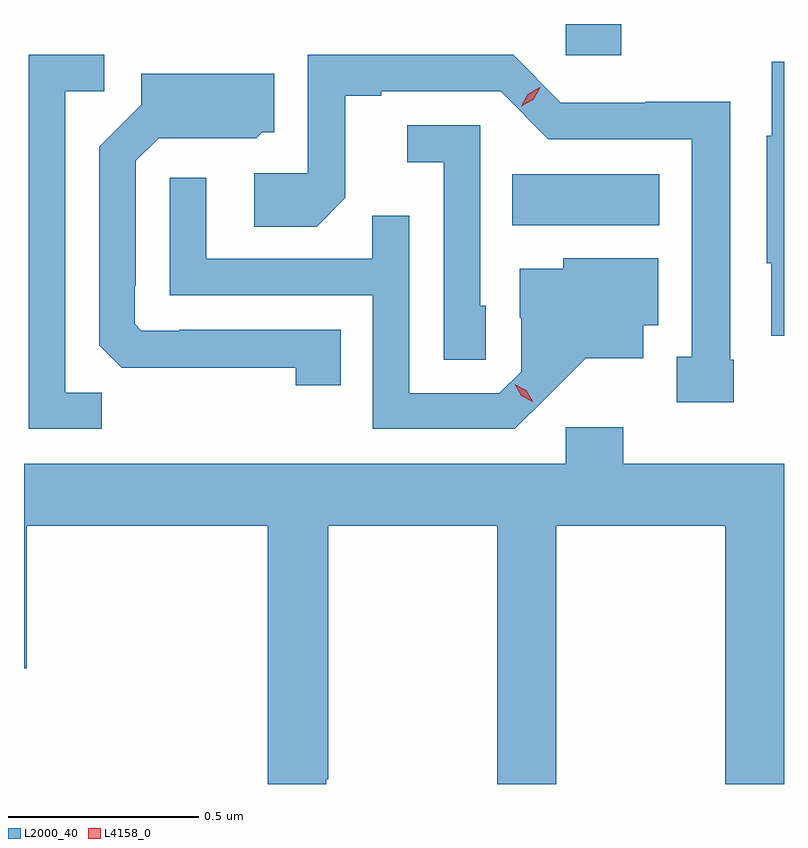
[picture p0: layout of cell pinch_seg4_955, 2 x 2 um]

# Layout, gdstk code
import gdstk
lib = gdstk.Library(unit=1e-6, precision=1e-09)
def R(c, l, rs):  # rectangles x0, y0, x1, y1
    for r in rs: c.add(gdstk.rectangle(r[:2], r[2:], *l))
def P(c, l, *ps):  # polygons
    for p in ps: c.add(gdstk.Polygon(p, *l))
L2000_40 = (2000, 40)
L4158_0 = (4158, 0)

pinch_seg4_955 = lib.new_cell('pinch_seg4_955')
R(pinch_seg4_955, L2000_40, [(657.958,797.612,658.345,797.746), (658.098,798.059,658.245,798.141)])
P(pinch_seg4_955, L2000_40, [(656.877,797.171),(656.781,797.171),(656.781,797.964),(656.884,797.964),(656.884,798.06),(656.685,798.06),(656.685,797.076),(656.877,797.076)],
  [(658.541,797.257),(658.531,797.257),(658.531,797.936),(658.308,797.936),(658.308,797.934),(658.086,797.934),(657.96,798.06),(657.42,798.06),(657.42,797.748),(657.279,797.748),(657.279,797.608),(657.443,797.608),(657.519,797.684),(657.519,797.952),(657.613,797.952),(657.613,797.964),(657.927,797.964),(658.053,797.838),(658.43,797.838),(658.43,797.265),(658.391,797.265),(658.391,797.145),(658.541,797.145)],
  [(658.673,798.042),(658.641,798.042),(658.641,797.847),(658.628,797.847),(658.628,797.511),(658.64,797.511),(658.64,797.321),(658.673,797.321)],
  [(657.506,797.337),(657.082,797.337),(657.082,797.334),(656.982,797.334),(656.964,797.352),(656.964,797.452),(656.967,797.452),(656.967,797.781),(657.027,797.841),(657.15,797.841),(657.15,797.84),(657.284,797.84),(657.3,797.856),(657.331,797.856),(657.331,798.01),(656.981,798.01),(656.981,797.928),(656.871,797.818),(656.871,797.296),(656.93,797.237),(657.031,797.237),(657.031,797.236),(657.388,797.236),(657.388,797.19),(657.506,797.19)],
  [(657.888,797.4),(657.873,797.4),(657.873,797.874),(657.681,797.874),(657.681,797.777),(657.777,797.777),(657.777,797.257),(657.888,797.257)],
  [(658.048,797.159),(658.151,797.261),(658.303,797.261),(658.303,797.348),(658.342,797.348),(658.342,797.524),(658.092,797.524),(658.092,797.497),(657.977,797.497),(657.977,797.368),(657.981,797.368),(657.981,797.226),(657.924,797.169),(657.687,797.169),(657.687,797.636),(657.589,797.636),(657.589,797.523),(657.153,797.523),(657.153,797.737),(657.057,797.737),(657.057,797.427),(657.591,797.427),(657.591,797.076),(657.964,797.076)],
  [(657.469,796.153),(657.474,796.153),(657.474,796.82),(657.919,796.82),(657.919,796.141),(658.074,796.141),(658.074,796.82),(658.519,796.82),(658.519,796.141),(658.673,796.141),(658.673,796.984),(658.25,796.984),(658.25,797.08),(658.098,797.08),(658.098,796.984),(656.673,796.984),(656.673,796.446),(656.68,796.446),(656.68,796.82),(657.314,796.82),(657.314,796.141),(657.469,796.141)])
P(pinch_seg4_955, L4158_0, [(657.981,797.924),(657.981,797.924),(657.998,797.956),(658.03,797.975),(658.031,797.975),(658.031,797.975),(658.013,797.942),(657.981,797.924)],
  [(658.012,797.147),(657.981,797.163),(657.964,797.193),(657.964,797.193),(657.965,797.193),(657.995,797.177),(658.012,797.148),(658.012,797.147)])

lib.write_gds('pinch_seg4_955.gds')
